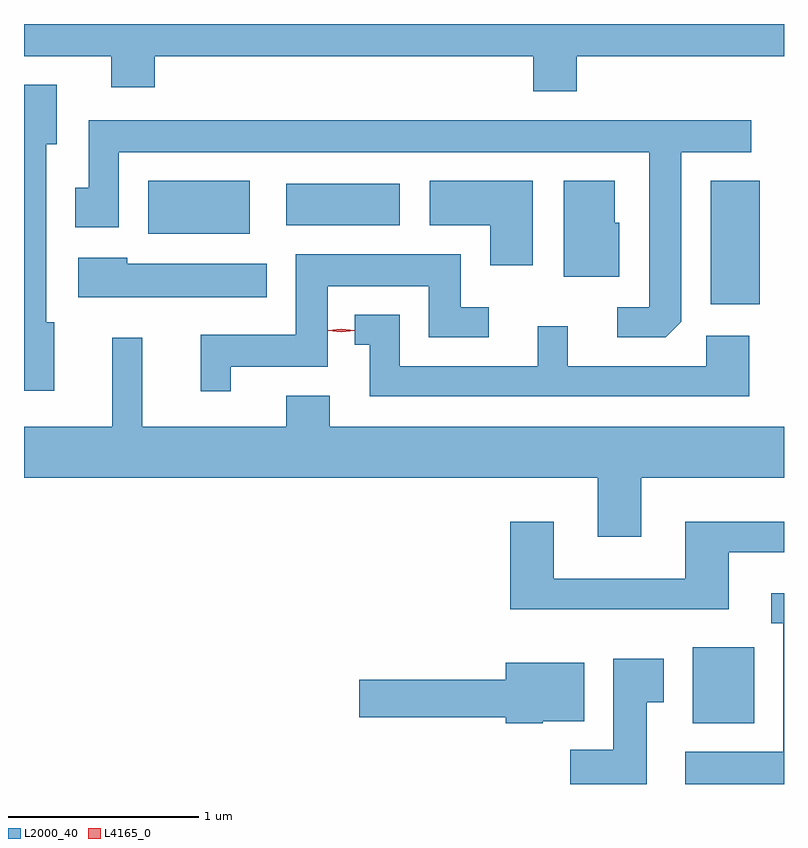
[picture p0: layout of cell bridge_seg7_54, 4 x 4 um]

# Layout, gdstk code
import gdstk
lib = gdstk.Library(unit=1e-6, precision=1e-09)
def R(c, l, rs):  # rectangles x0, y0, x1, y1
    for r in rs: c.add(gdstk.rectangle(r[:2], r[2:], *l))
def P(c, l, *ps):  # polygons
    for p in ps: c.add(gdstk.Polygon(p, *l))
L2000_40 = (2000, 40)
L4165_0 = (4165, 0)

bridge_seg7_54 = lib.new_cell('bridge_seg7_54')
R(bridge_seg7_54, L2000_40, [(1610.071,1748.546,1610.394,1748.944), (1610.166,1750.751,1610.424,1751.399), (1607.206,1751.121,1607.739,1751.399), (1607.931,1751.166,1608.529,1751.384)])
P(bridge_seg7_54, L2000_40, [(1609.459,1752.056),(1610.551,1752.056),(1610.551,1752.225),(1606.551,1752.225),(1606.551,1752.056),(1607.011,1752.056),(1607.011,1751.891),(1607.239,1751.891),(1607.239,1752.056),(1609.231,1752.056),(1609.231,1751.871),(1609.459,1751.871)],
  [(1606.709,1750.654),(1606.669,1750.654),(1606.669,1751.591),(1606.724,1751.591),(1606.724,1751.904),(1606.551,1751.904),(1606.551,1750.296),(1606.709,1750.296)],
  [(1610.009,1750.657),(1610.009,1751.551),(1610.378,1751.551),(1610.378,1751.719),(1606.891,1751.719),(1606.891,1751.364),(1606.821,1751.364),(1606.821,1751.156),(1607.049,1751.156),(1607.049,1751.551),(1609.841,1751.551),(1609.841,1750.734),(1609.673,1750.734),(1609.673,1750.576),(1609.929,1750.576)],
  [(1609.229,1751.399),(1608.686,1751.399),(1608.686,1751.166),(1609.006,1751.166),(1609.006,1750.956),(1609.229,1750.956)],
  [(1609.684,1751.179),(1609.659,1751.179),(1609.659,1751.399),(1609.391,1751.399),(1609.391,1750.896),(1609.684,1750.896)],
  [(1607.639,1750.421),(1608.149,1750.421),(1608.149,1750.846),(1608.681,1750.846),(1608.681,1750.576),(1608.998,1750.576),(1608.998,1750.734),(1608.849,1750.734),(1608.849,1751.014),(1607.981,1751.014),(1607.981,1750.589),(1607.481,1750.589),(1607.481,1750.293),(1607.639,1750.293)],
  [(1607.829,1750.964),(1607.094,1750.964),(1607.094,1750.994),(1606.836,1750.994),(1606.836,1750.786),(1607.829,1750.786)],
  [(1610.369,1750.584),(1610.141,1750.584),(1610.141,1750.424),(1609.414,1750.424),(1609.414,1750.633),(1609.256,1750.633),(1609.256,1750.424),(1608.529,1750.424),(1608.529,1750.694),(1608.293,1750.694),(1608.293,1750.536),(1608.371,1750.536),(1608.371,1750.266),(1610.369,1750.266)],
  [(1609.799,1749.836),(1610.551,1749.836),(1610.551,1750.104),(1608.159,1750.104),(1608.159,1750.269),(1607.931,1750.269),(1607.931,1750.104),(1607.174,1750.104),(1607.174,1750.573),(1607.016,1750.573),(1607.016,1750.104),(1606.551,1750.104),(1606.551,1749.836),(1609.571,1749.836),(1609.571,1749.526),(1609.799,1749.526)],
  [(1610.259,1749.446),(1610.551,1749.446),(1610.551,1749.604),(1610.031,1749.604),(1610.031,1749.304),(1609.339,1749.304),(1609.339,1749.604),(1609.111,1749.604),(1609.111,1749.146),(1610.259,1749.146)],
  [(1610.551,1749.229),(1610.483,1749.229),(1610.483,1749.071),(1610.546,1749.071),(1610.546,1748.394),(1610.031,1748.394),(1610.031,1748.225),(1610.551,1748.225)],
  [(1609.829,1748.656),(1609.919,1748.656),(1609.919,1748.884),(1609.651,1748.884),(1609.651,1748.404),(1609.426,1748.404),(1609.426,1748.225),(1609.829,1748.225)],
  [(1609.28,1748.556),(1609.499,1748.556),(1609.499,1748.864),(1609.086,1748.864),(1609.086,1748.774),(1608.316,1748.774),(1608.316,1748.576),(1609.086,1748.576),(1609.086,1748.546),(1609.28,1748.546)])
P(bridge_seg7_54, L4165_0, [(1608.222,1750.602),(1608.152,1750.611),(1608.152,1750.612),(1608.152,1750.612),(1608.222,1750.622),(1608.291,1750.612),(1608.291,1750.612),(1608.291,1750.611)])

lib.write_gds('bridge_seg7_54.gds')
